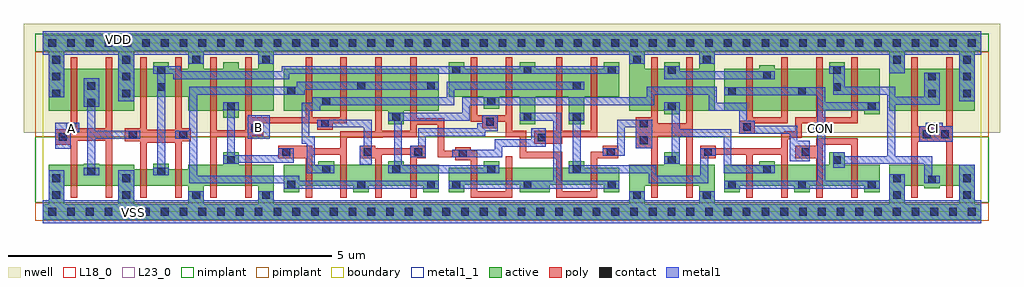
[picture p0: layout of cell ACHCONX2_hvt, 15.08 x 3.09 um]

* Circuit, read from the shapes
.subckt ACHCONX2_hvt A B CI CON VDD VSS
M1 n1 A VSS VSS nfet w=0.325u l=0.1u m=2
M2 n2 n1 VSS VSS nfet w=0.26u l=0.1u m=2
M3 n3 B VSS VSS nfet w=0.325u l=0.1u m=2
M4 n4 n3 n1 VSS nfet w=0.325u l=0.1u m=2
M5 n5 B n1 VSS nfet w=0.325u l=0.1u m=2
M6 n5 n3 n2 VSS nfet w=0.26u l=0.1u m=2
M7 n4 B n2 VSS nfet w=0.26u l=0.1u m=2
M8 n6 B VSS VSS nfet w=0.325u l=0.1u m=2
M9 n6 n4 CON VSS nfet w=0.325u l=0.1u m=2
M10 n7 n5 CON VSS nfet w=0.325u l=0.1u m=2
M11 n7 CI VSS VSS nfet w=0.325u l=0.1u m=2
M12 n1 A VDD VDD pfet w=0.645u l=0.1u m=2
M13 n2 n1 VDD VDD pfet w=0.43u l=0.1u m=2
M14 n3 B VDD VDD pfet w=0.645u l=0.1u m=2
M15 n4 B n1 VDD pfet w=0.645u l=0.1u m=2
M16 n5 n3 n1 VDD pfet w=0.645u l=0.1u m=2
M17 n5 B n2 VDD pfet w=0.43u l=0.1u m=2
M18 n4 n3 n2 VDD pfet w=0.43u l=0.1u m=2
M19 n6 B VDD VDD pfet w=0.645u l=0.1u m=2
M20 n6 n5 CON VDD pfet w=0.645u l=0.1u m=2
M21 n7 n4 CON VDD pfet w=0.645u l=0.1u m=2
M22 n7 CI VDD VDD pfet w=0.645u l=0.1u m=2
.ends

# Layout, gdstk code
import gdstk
lib = gdstk.Library(unit=1e-6, precision=5e-10)
def R(c, l, rs):  # rectangles x0, y0, x1, y1
    for r in rs: c.add(gdstk.rectangle(r[:2], r[2:], *l))
def A(c, l, x, y, w, h, nx, ny, dx, dy):  # array of equal rectangles
    R(c, l, [(x+i*dx, y+j*dy, x+i*dx+w, y+j*dy+h) for i in range(nx) for j in range(ny)])
def P(c, l, *ps):  # polygons
    for p in ps: c.add(gdstk.Polygon(p, *l))
active = (1, 0)
nwell = (2, 0)
poly = (3, 0)
nimplant = (4, 0)
pimplant = (5, 0)
contact = (6, 0)
metal1 = (7, 0)
metal1_1 = (7, 1)
L18_0 = (18, 0)
L23_0 = (23, 0)
boundary = (62, 0)

achconx2_hvt = lib.new_cell('ACHCONX2_hvt')
P(achconx2_hvt, active, [(14.5,0.12),(14.4,0.12),(14.4,0.725),(14.16,0.725),(14.16,0.12),(13.32,0.12),(13.32,0.4),(13.62,0.4),(13.62,0.365),(13.86,0.365),(13.86,0.4),(14.16,0.4),(14.16,0.725),(13.08,0.725),(13.08,0.12),(10.38,0.12),(10.38,0.725),(10.14,0.725),(10.14,0.12),(9.3,0.12),(9.3,0.4),(10.14,0.4),(10.14,0.725),(9.84,0.725),(9.84,0.92),(9.6,0.92),(9.6,0.725),(9.06,0.725),(9.06,0.12),(3.57,0.12),(3.57,0.725),(3.33,0.725),(3.33,0.12),(2.49,0.12),(2.49,0.4),(3.33,0.4),(3.33,0.725),(3.03,0.725),(3.03,0.92),(2.79,0.92),(2.79,0.725),(2.25,0.725),(2.25,0.12),(1.41,0.12),(1.41,0.4),(2.25,0.4),(2.25,0.66),(1.95,0.66),(1.95,0.745),(1.71,0.745),(1.71,0.66),(1.41,0.66),(1.41,0.725),(1.17,0.725),(1.17,0.12),(0.33,0.12),(0.33,0.4),(1.17,0.4),(1.17,0.725),(0.87,0.725),(0.87,0.745),(0.63,0.745),(0.63,0.725),(0.09,0.725),(0.09,0.12),(0,0.12),(0,-0.12),(14.5,-0.12)],
  [(14.5,2.73),(14.16,2.73),(14.16,2.21),(13.32,2.21),(13.32,2.49),(14.16,2.49),(14.16,2.73),(10.14,2.73),(10.14,2.21),(9.84,2.21),(9.84,2.31),(9.6,2.31),(9.6,2.21),(9.3,2.21),(9.3,2.49),(10.14,2.49),(10.14,2.73),(3.33,2.73),(3.33,2.21),(3.03,2.21),(3.03,2.31),(2.79,2.31),(2.79,2.21),(2.49,2.21),(2.49,2.49),(3.33,2.49),(3.33,2.73),(2.25,2.73),(2.25,2.21),(1.95,2.21),(1.95,2.31),(1.71,2.31),(1.71,2.21),(1.41,2.21),(1.41,2.49),(2.25,2.49),(2.25,2.73),(1.17,2.73),(1.17,2.21),(0.33,2.21),(0.33,2.49),(1.17,2.49),(1.17,2.73),(0,2.73),(0,2.49),(0.09,2.49),(0.09,1.565),(1.41,1.565),(1.41,1.78),(2.25,1.78),(2.25,1.565),(2.79,1.565),(2.79,1.45),(3.03,1.45),(3.03,1.565),(3.57,1.565),(3.57,2.49),(9.06,2.49),(9.06,1.565),(9.6,1.565),(9.6,1.51),(9.84,1.51),(9.84,1.565),(10.38,1.565),(10.38,2.49),(13.08,2.49),(13.08,1.565),(14.4,1.565),(14.4,2.49),(14.5,2.49)],
  [(12.93,0.725),(12.39,0.725),(12.39,0.92),(12.15,0.92),(12.15,0.725),(11.31,0.725),(11.31,0.78),(11.07,0.78),(11.07,0.725),(10.53,0.725),(10.53,0.3),(10.77,0.3),(10.77,0.4),(11.61,0.4),(11.61,0.3),(11.85,0.3),(11.85,0.4),(12.69,0.4),(12.69,0.3),(12.93,0.3)],
  [(12.93,2.21),(12.39,2.21),(12.39,2.31),(12.15,2.31),(12.15,2.21),(11.31,2.21),(11.31,2.265),(11.07,2.265),(11.07,2.21),(10.53,2.21),(10.53,1.565),(12.69,1.565),(12.69,1.51),(12.93,1.51)],
  [(8.91,0.68),(8.37,0.68),(8.37,0.78),(8.13,0.78),(8.13,0.68),(7.05,0.68),(7.05,0.78),(6.81,0.78),(6.81,0.68),(6.27,0.68),(6.27,0.3),(6.51,0.3),(6.51,0.42),(7.37,0.42),(7.37,0.3),(7.83,0.3),(7.83,0.42),(8.67,0.42),(8.67,0.3),(8.91,0.3)],
  [(8.91,2.31),(8.67,2.31),(8.67,2.21),(7.61,2.21),(7.61,2.31),(7.37,2.31),(7.37,2.21),(6.51,2.21),(6.51,2.31),(6.27,2.31),(6.27,1.78),(6.81,1.78),(6.81,1.59),(7.05,1.59),(7.05,1.78),(7.37,1.78),(7.37,1.35),(7.61,1.35),(7.61,1.78),(8.13,1.78),(8.13,1.35),(8.37,1.35),(8.37,1.78),(8.91,1.78)],
  [(6.12,0.725),(5.58,0.725),(5.58,0.78),(5.34,0.78),(5.34,0.725),(4.5,0.725),(4.5,0.78),(4.26,0.78),(4.26,0.725),(3.72,0.725),(3.72,0.3),(3.96,0.3),(3.96,0.4),(4.8,0.4),(4.8,0.3),(5.04,0.3),(5.04,0.4),(5.88,0.4),(5.88,0.3),(6.12,0.3)],
  [(6.12,2.21),(3.72,2.21),(3.72,1.565),(5.34,1.565),(5.34,1.35),(5.58,1.35),(5.58,1.565),(6.12,1.565)])
R(achconx2_hvt, nwell, [(-0.29,1.22,14.79,2.91)])
P(achconx2_hvt, poly, [(1.07,2.39),(0.97,2.39),(0.97,1.295),(0.53,1.295),(0.53,2.39),(0.43,2.39),(0.43,1.275),(0.19,1.275),(0.19,1.035),(0.43,1.035),(0.43,0.22),(0.53,0.22),(0.53,1.095),(0.97,1.095),(0.97,0.22),(1.07,0.22)],
  [(2.29,1.29),(2.15,1.29),(2.15,2.39),(2.05,2.39),(2.05,1.27),(1.61,1.27),(1.61,2.39),(1.51,2.39),(1.51,1.29),(1.27,1.29),(1.27,1.09),(1.51,1.09),(1.51,0.22),(1.61,0.22),(1.61,1.07),(2.05,1.07),(2.05,0.22),(2.15,0.22),(2.15,1.09),(2.29,1.09)],
  [(4.7,2.39),(4.6,2.39),(4.6,1.465),(4.16,1.465),(4.16,2.39),(4.06,2.39),(4.06,1.465),(3.23,1.465),(3.23,2.39),(3.13,2.39),(3.13,1.26),(2.69,1.26),(2.69,2.39),(2.59,2.39),(2.59,0.22),(2.69,0.22),(2.69,1.16),(3.13,1.16),(3.13,0.22),(3.23,0.22),(3.23,1.175),(3.405,1.175),(3.405,1.365),(4.24,1.365),(4.24,1.265),(4.48,1.265),(4.48,1.365),(4.7,1.365)],
  [(5.92,1.025),(5.68,1.025),(5.68,0.98),(5.14,0.98),(5.14,1.025),(4.9,1.025),(4.9,0.825),(5.14,0.825),(5.14,0.22),(5.24,0.22),(5.24,0.88),(5.68,0.88),(5.68,0.22),(5.78,0.22),(5.78,0.825),(5.92,0.825)],
  [(7.25,0.86),(7.15,0.86),(7.15,0.32),(6.71,0.32),(6.71,0.945),(6.61,0.945),(6.61,1),(6.37,1),(6.37,0.945),(6.2,0.945),(6.2,1.445),(5.78,1.445),(5.78,2.39),(5.68,2.39),(5.68,1.25),(5.24,1.25),(5.24,2.39),(5.14,2.39),(5.14,1.245),(4.6,1.245),(4.6,0.98),(4.16,0.98),(4.16,1.025),(3.64,1.025),(3.64,0.825),(4.06,0.825),(4.06,0.22),(4.16,0.22),(4.16,0.88),(4.6,0.88),(4.6,0.22),(4.7,0.22),(4.7,1.145),(5.255,1.145),(5.255,1.15),(5.78,1.15),(5.78,1.345),(6.1,1.345),(6.1,0.845),(6.37,0.845),(6.37,0.8),(6.61,0.8),(6.61,0.22),(7.25,0.22)],
  [(8.57,2.39),(8.47,2.39),(8.47,1.25),(8.03,1.25),(8.03,2.39),(7.93,2.39),(7.93,1.25),(7.59,1.25),(7.59,1.05),(8.03,1.05),(8.03,1.15),(8.57,1.15)],
  [(8.895,1.025),(8.655,1.025),(8.655,0.925),(8.47,0.925),(8.47,0.32),(8.03,0.32),(8.03,0.93),(7.47,0.93),(7.47,1.25),(7.25,1.25),(7.25,2.39),(7.15,2.39),(7.15,1.49),(6.71,1.49),(6.71,2.39),(6.61,2.39),(6.61,1.39),(6.79,1.39),(6.79,1.29),(7.03,1.29),(7.03,1.39),(7.15,1.39),(7.15,1.15),(7.37,1.15),(7.37,0.83),(7.93,0.83),(7.93,0.22),(8.57,0.22),(8.57,0.825),(8.895,0.825)],
  [(10.04,2.39),(9.94,2.39),(9.94,1.37),(9.5,1.37),(9.5,2.39),(9.4,2.39),(9.4,1.465),(9.165,1.465),(9.165,0.985),(9.4,0.985),(9.4,0.22),(9.5,0.22),(9.5,1.17),(9.94,1.17),(9.94,0.22),(10.04,0.22)],
  [(11.51,2.39),(11.41,2.39),(11.41,1.465),(10.97,1.465),(10.97,2.39),(10.87,2.39),(10.87,1.41),(10.76,1.41),(10.76,1.21),(11,1.21),(11,1.365),(11.51,1.365)],
  [(12.59,2.39),(12.49,2.39),(12.49,1.465),(12.05,1.465),(12.05,2.39),(11.95,2.39),(11.95,1.465),(11.63,1.465),(11.63,1.245),(11.455,1.245),(11.455,1.22),(11.41,1.22),(11.41,0.98),(10.4,0.98),(10.4,1.025),(10.16,1.025),(10.16,0.825),(10.4,0.825),(10.4,0.88),(10.87,0.88),(10.87,0.22),(10.97,0.22),(10.97,0.88),(11.41,0.88),(11.41,0.22),(11.51,0.22),(11.51,1.12),(11.555,1.12),(11.555,1.145),(11.73,1.145),(11.73,1.365),(12.59,1.365)],
  [(12.59,1.14),(11.95,1.14),(11.95,1.025),(11.63,1.025),(11.63,0.825),(11.95,0.825),(11.95,0.22),(12.05,0.22),(12.05,1.04),(12.49,1.04),(12.49,0.22),(12.59,0.22)],
  [(14.06,2.39),(13.96,2.39),(13.96,1.32),(13.52,1.32),(13.52,2.39),(13.42,2.39),(13.42,0.22),(13.52,0.22),(13.52,1.08),(13.96,1.08),(13.96,0.22),(14.06,0.22)])
R(achconx2_hvt, nimplant, [(-0.12,0.14,14.62,1.16), (-0.12,2.47,14.62,2.75)])
R(achconx2_hvt, pimplant, [(-0.12,-0.14,14.62,0.14), (-0.12,1.16,14.62,2.47)])
A(achconx2_hvt, contact, 0.085, -0.06, 0.12, 0.12, 50, 2, 0.29, 2.61)
A(achconx2_hvt, contact, 0.15, 0.2, 0.12, 0.12, 4, 2, 1.08, 2.09)
A(achconx2_hvt, contact, 3.78, 0.36, 0.12, 0.12, 3, 1, 1.08, 0)
A(achconx2_hvt, contact, 10.59, 0.36, 0.12, 0.12, 3, 1, 1.08, 0)
A(achconx2_hvt, contact, 14.22, 1.77, 0.12, 0.12, 1, 3, 0, 0.26)
R(achconx2_hvt, contact, [(9.12,0.2,9.24,0.32), (10.2,0.2,10.32,0.32), (13.14,0.2,13.26,0.32), (14.22,0.2,14.34,0.32), (6.33,0.36,6.45,0.48), (7.43,0.36,7.55,0.48), (8.73,0.36,8.85,0.48), (13.68,0.44,13.8,0.56), (0.15,0.46,0.27,0.58), (1.23,0.46,1.35,0.58), (13.14,0.46,13.26,0.58), (14.22,0.46,14.34,0.58), (0.69,0.565,0.81,0.685), (1.77,0.565,1.89,0.685), (4.32,0.6,4.44,0.72), (5.4,0.6,5.52,0.72), (6.87,0.6,6.99,0.72), (8.19,0.6,8.31,0.72), (11.13,0.6,11.25,0.72), (2.85,0.74,2.97,0.86), (9.66,0.74,9.78,0.86), (12.21,0.74,12.33,0.86), (6.43,0.84,6.55,0.96), (3.7,0.865,3.82,0.985), (4.96,0.865,5.08,0.985), (5.74,0.865,5.86,0.985), (8.715,0.865,8.835,0.985), (10.22,0.865,10.34,0.985), (11.73,0.865,11.85,0.985), (9.225,1.045,9.345,1.165), (7.65,1.09,7.77,1.21), (0.25,1.095,0.37,1.215), (1.33,1.13,1.45,1.25), (2.11,1.13,2.23,1.25), (13.6,1.14,13.72,1.26), (13.88,1.14,14,1.26), (3.225,1.235,3.345,1.355), (10.82,1.25,10.94,1.37), (4.3,1.305,4.42,1.425), (9.225,1.305,9.345,1.425), (6.85,1.33,6.97,1.45), (5.4,1.41,5.52,1.53), (7.43,1.41,7.55,1.53), (8.19,1.41,8.31,1.53), (2.85,1.57,2.97,1.69), (9.66,1.57,9.78,1.69), (12.75,1.57,12.87,1.69), (0.69,1.625,0.81,1.745), (4.32,1.65,4.44,1.77), (6.87,1.65,6.99,1.77), (0.15,1.77,0.27,1.89), (1.23,1.77,1.35,1.89), (13.68,1.77,13.8,1.89), (10.59,1.805,10.71,1.925), (11.67,1.805,11.79,1.925), (3.78,1.81,3.9,1.93), (1.77,1.87,1.89,1.99), (12.21,1.87,12.33,1.99), (0.69,1.885,0.81,2.005), (4.86,1.89,4.98,2.01), (5.94,1.89,6.06,2.01), (8.19,1.89,8.31,2.01), (0.15,2.03,0.27,2.15), (1.23,2.03,1.35,2.15), (13.68,2.03,13.8,2.15), (11.13,2.05,11.25,2.17), (1.77,2.13,1.89,2.25), (6.33,2.13,6.45,2.25), (7.43,2.13,7.55,2.25), (8.73,2.13,8.85,2.25), (9.66,2.13,9.78,2.25), (12.21,2.13,12.33,2.25), (9.12,2.29,9.24,2.41), (10.2,2.29,10.32,2.41), (13.14,2.29,13.26,2.41)])
R(achconx2_hvt, metal1, [(0.19,0.975,0.43,1.365), (13.54,1.08,14.06,1.32), (3.165,1.13,3.51,1.49), (0.19,1.23,0.565,1.38), (11.905,1.23,12.165,1.38), (13.645,1.23,13.905,1.38)])
P(achconx2_hvt, metal1, [(3.88,0.985),(3.64,0.985),(3.64,0.875),(2.97,0.875),(2.97,1.57),(3.03,1.57),(3.03,1.69),(2.79,1.69),(2.79,1.57),(2.85,1.57),(2.85,0.875),(2.79,0.875),(2.79,0.74),(3.03,0.74),(3.03,0.755),(3.88,0.755)],
  [(1.51,1.25),(0.81,1.25),(0.81,1.625),(0.87,1.625),(0.87,2.065),(0.63,2.065),(0.63,1.625),(0.69,1.625),(0.69,0.685),(0.63,0.685),(0.63,0.565),(0.87,0.565),(0.87,0.685),(0.81,0.685),(0.81,1.13),(1.51,1.13)],
  [(5.08,1.425),(4.24,1.425),(4.24,1.305),(4.96,1.305),(4.96,1.025),(4.9,1.025),(4.9,0.73),(5.08,0.73)],
  [(6.12,0.48),(3.96,0.48),(3.96,0.56),(2.385,0.56),(2.385,1.81),(4.045,1.81),(4.045,1.89),(6.12,1.89),(6.12,2.01),(3.925,2.01),(3.925,1.93),(2.265,1.93),(2.265,1.25),(2.05,1.25),(2.05,1.13),(2.265,1.13),(2.265,0.44),(3.72,0.44),(3.72,0.36),(6.12,0.36)],
  [(7.03,1.49),(6.79,1.49),(6.79,1.365),(6.715,1.365),(6.715,1.29),(5.8,1.29),(5.8,1.025),(5.68,1.025),(5.68,0.84),(5.92,0.84),(5.92,1.17),(6.835,1.17),(6.835,1.245),(7.03,1.245)],
  [(7.77,1.29),(7.55,1.29),(7.55,1.125),(6.98,1.125),(6.98,0.96),(6.325,0.96),(6.325,0.84),(7.1,0.84),(7.1,1.005),(7.77,1.005)],
  [(8.37,2.01),(6.24,2.01),(6.24,1.77),(4.165,1.77),(4.165,1.685),(4,1.685),(4,1.05),(4.08,1.05),(4.08,0.6),(4.5,0.6),(4.5,0.72),(4.2,0.72),(4.2,1.17),(4.12,1.17),(4.12,1.565),(4.285,1.565),(4.285,1.65),(6.36,1.65),(6.36,1.89),(8.37,1.89)],
  [(8.91,2.25),(3.69,2.25),(3.69,2.17),(2.135,2.17),(2.135,2.25),(1.71,2.25),(1.71,2.13),(1.77,2.13),(1.77,0.685),(1.71,0.685),(1.71,0.565),(1.95,0.565),(1.95,0.685),(1.89,0.685),(1.89,2.13),(2.015,2.13),(2.015,2.05),(3.81,2.05),(3.81,2.13),(8.91,2.13)],
  [(8.91,0.48),(8.01,0.48),(8.01,1.53),(7.37,1.53),(7.37,1.41),(7.89,1.41),(7.89,0.48),(6.27,0.48),(6.27,0.36),(8.91,0.36)],
  [(9.415,1.425),(8.875,1.425),(8.875,0.985),(8.655,0.985),(8.655,0.865),(8.995,0.865),(8.995,1.305),(9.165,1.305),(9.165,0.985),(9.415,0.985)],
  [(10.4,0.985),(10.16,0.985),(10.16,0.56),(9.48,0.56),(9.48,0.72),(8.31,0.72),(8.31,1.41),(8.37,1.41),(8.37,1.53),(8.13,1.53),(8.13,1.41),(8.19,1.41),(8.19,0.72),(8.13,0.72),(8.13,0.6),(9.36,0.6),(9.36,0.44),(10.28,0.44),(10.28,0.865),(10.4,0.865)],
  [(11.31,2.17),(9.84,2.17),(9.84,2.25),(9.6,2.25),(9.6,2.05),(11.31,2.05)],
  [(11.31,0.72),(10.64,0.72),(10.64,1.28),(9.84,1.28),(9.84,1.69),(9.6,1.69),(9.6,1.57),(9.72,1.57),(9.72,0.86),(9.6,0.86),(9.6,0.74),(9.84,0.74),(9.84,1.16),(10.52,1.16),(10.52,0.6),(11.31,0.6)],
  [(11.85,1.095),(11.66,1.095),(11.66,1.33),(11,1.33),(11,1.41),(10.88,1.41),(10.88,1.685),(10.41,1.685),(10.41,1.93),(9.33,1.93),(9.33,1.77),(6.48,1.77),(6.48,1.53),(5.34,1.53),(5.34,1.41),(5.43,1.41),(5.43,0.72),(5.34,0.72),(5.34,0.6),(7.05,0.6),(7.05,0.72),(5.55,0.72),(5.55,1.41),(6.6,1.41),(6.6,1.65),(9.45,1.65),(9.45,1.81),(10.29,1.81),(10.29,1.565),(10.76,1.565),(10.76,1.21),(11.54,1.21),(11.54,0.785),(11.85,0.785)],
  [(12.93,0.48),(12.09,0.48),(12.09,1.57),(12.93,1.57),(12.93,1.69),(12.09,1.69),(12.09,1.925),(10.53,1.925),(10.53,1.805),(11.97,1.805),(11.97,0.48),(10.53,0.48),(10.53,0.36),(12.93,0.36)],
  [(13.86,0.56),(13.74,0.56),(13.74,0.86),(13.17,0.86),(13.17,1.655),(13.86,1.655),(13.86,2.15),(13.62,2.15),(13.62,1.775),(13.17,1.775),(13.17,1.93),(12.39,1.93),(12.39,2.25),(12.15,2.25),(12.15,2.13),(12.21,2.13),(12.21,1.81),(13.05,1.81),(13.05,0.86),(12.39,0.86),(12.39,0.92),(12.21,0.92),(12.21,0.68),(12.39,0.68),(12.39,0.74),(13.62,0.74),(13.62,0.44),(13.86,0.44)],
  [(14.5,2.79),(0,2.79),(0,2.43),(0.09,2.43),(0.09,1.77),(0.33,1.77),(0.33,2.43),(1.17,2.43),(1.17,1.71),(1.41,1.71),(1.41,2.43),(2.25,2.43),(2.25,2.29),(2.49,2.29),(2.49,2.43),(3.33,2.43),(3.33,2.29),(3.57,2.29),(3.57,2.43),(9.06,2.43),(9.06,2.29),(9.3,2.29),(9.3,2.43),(10.14,2.43),(10.14,2.29),(10.38,2.29),(10.38,2.43),(13.08,2.43),(13.08,2.14),(13.32,2.14),(13.32,2.43),(14.16,2.43),(14.16,1.71),(14.4,1.71),(14.4,2.43),(14.5,2.43)],
  [(14.5,0.18),(14.4,0.18),(14.4,0.725),(14.16,0.725),(14.16,0.18),(13.32,0.18),(13.32,0.58),(13.08,0.58),(13.08,0.18),(10.38,0.18),(10.38,0.32),(10.14,0.32),(10.14,0.18),(9.3,0.18),(9.3,0.32),(9.06,0.32),(9.06,0.18),(3.57,0.18),(3.57,0.32),(3.33,0.32),(3.33,0.18),(2.49,0.18),(2.49,0.32),(2.25,0.32),(2.25,0.18),(1.41,0.18),(1.41,0.64),(1.17,0.64),(1.17,0.18),(0.33,0.18),(0.33,0.64),(0.09,0.64),(0.09,0.18),(0,0.18),(0,-0.18),(14.5,-0.18)])
R(achconx2_hvt, metal1_1, [(1.345,-0.07,1.465,0.05), (0.36,1.23,0.51,1.38), (3.26,1.23,3.41,1.38), (11.96,1.23,12.11,1.38), (13.7,1.23,13.85,1.38), (1.105,2.6,1.225,2.72)])
P(achconx2_hvt, L18_0, [(13.08,0.14),(13.32,0.14),(13.32,0.4),(13.62,0.4),(13.62,0.365),(13.86,0.365),(13.86,0.4),(14.16,0.4),(14.16,0.14),(14.4,0.14),(14.4,0.725),(13.08,0.725)],
  [(10.53,0.3),(10.77,0.3),(10.77,0.4),(11.61,0.4),(11.61,0.3),(11.85,0.3),(11.85,0.4),(12.69,0.4),(12.69,0.3),(12.93,0.3),(12.93,0.725),(12.39,0.725),(12.39,0.92),(12.15,0.92),(12.15,0.725),(11.31,0.725),(11.31,0.78),(11.07,0.78),(11.07,0.725),(10.53,0.725)],
  [(9.06,0.14),(9.3,0.14),(9.3,0.4),(10.14,0.4),(10.14,0.14),(10.38,0.14),(10.38,0.725),(9.84,0.725),(9.84,0.92),(9.6,0.92),(9.6,0.725),(9.06,0.725)],
  [(6.27,0.3),(6.51,0.3),(6.51,0.42),(7.37,0.42),(7.37,0.3),(7.83,0.3),(7.83,0.42),(8.67,0.42),(8.67,0.3),(8.91,0.3),(8.91,0.68),(8.37,0.68),(8.37,0.78),(8.13,0.78),(8.13,0.68),(7.05,0.68),(7.05,0.78),(6.81,0.78),(6.81,0.68),(6.27,0.68)],
  [(3.72,0.3),(3.96,0.3),(3.96,0.4),(4.8,0.4),(4.8,0.3),(5.04,0.3),(5.04,0.4),(5.88,0.4),(5.88,0.3),(6.12,0.3),(6.12,0.725),(5.58,0.725),(5.58,0.78),(5.34,0.78),(5.34,0.725),(4.5,0.725),(4.5,0.78),(4.26,0.78),(4.26,0.725),(3.72,0.725)],
  [(0.09,0.14),(0.33,0.14),(0.33,0.4),(1.17,0.4),(1.17,0.14),(1.41,0.14),(1.41,0.4),(2.25,0.4),(2.25,0.14),(2.49,0.14),(2.49,0.4),(3.33,0.4),(3.33,0.14),(3.57,0.14),(3.57,0.725),(3.03,0.725),(3.03,0.92),(2.79,0.92),(2.79,0.725),(2.25,0.725),(2.25,0.66),(1.95,0.66),(1.95,0.745),(1.71,0.745),(1.71,0.66),(1.41,0.66),(1.41,0.725),(0.87,0.725),(0.87,0.745),(0.63,0.745),(0.63,0.725),(0.09,0.725)])
P(achconx2_hvt, L23_0, [(13.08,1.565),(14.4,1.565),(14.4,2.47),(14.16,2.47),(14.16,2.21),(13.32,2.21),(13.32,2.47),(13.08,2.47)],
  [(10.53,1.565),(12.69,1.565),(12.69,1.51),(12.93,1.51),(12.93,2.21),(12.39,2.21),(12.39,2.31),(12.15,2.31),(12.15,2.21),(11.31,2.21),(11.31,2.265),(11.07,2.265),(11.07,2.21),(10.53,2.21)],
  [(9.06,1.565),(9.6,1.565),(9.6,1.51),(9.84,1.51),(9.84,1.565),(10.38,1.565),(10.38,2.47),(10.14,2.47),(10.14,2.21),(9.84,2.21),(9.84,2.31),(9.6,2.31),(9.6,2.21),(9.3,2.21),(9.3,2.47),(9.06,2.47)],
  [(6.27,1.78),(6.81,1.78),(6.81,1.59),(7.05,1.59),(7.05,1.78),(7.37,1.78),(7.37,1.35),(7.61,1.35),(7.61,1.78),(8.13,1.78),(8.13,1.35),(8.37,1.35),(8.37,1.78),(8.91,1.78),(8.91,2.31),(8.67,2.31),(8.67,2.21),(7.61,2.21),(7.61,2.31),(7.37,2.31),(7.37,2.21),(6.51,2.21),(6.51,2.31),(6.27,2.31)],
  [(3.72,1.565),(5.34,1.565),(5.34,1.35),(5.58,1.35),(5.58,1.565),(6.12,1.565),(6.12,2.21),(3.72,2.21)],
  [(0.09,1.565),(1.41,1.565),(1.41,1.78),(2.25,1.78),(2.25,1.565),(2.79,1.565),(2.79,1.45),(3.03,1.45),(3.03,1.565),(3.57,1.565),(3.57,2.47),(3.33,2.47),(3.33,2.21),(3.03,2.21),(3.03,2.31),(2.79,2.31),(2.79,2.21),(2.49,2.21),(2.49,2.47),(2.25,2.47),(2.25,2.21),(1.95,2.21),(1.95,2.31),(1.71,2.31),(1.71,2.21),(1.41,2.21),(1.41,2.47),(1.17,2.47),(1.17,2.21),(0.33,2.21),(0.33,2.47),(0.09,2.47)])
R(achconx2_hvt, boundary, [(0,0,14.5,2.61)])
achconx2_hvt.add(gdstk.Label('CON', (12.02,1.29), layer=7, texttype=3))
achconx2_hvt.add(gdstk.Label('A', (0.45,1.29), layer=7, texttype=3))
achconx2_hvt.add(gdstk.Label('B', (3.335,1.305), layer=7, texttype=3))
achconx2_hvt.add(gdstk.Label('CI', (13.76,1.29), layer=7, texttype=3))
achconx2_hvt.add(gdstk.Label('VSS', (1.405,-0.01), layer=7, texttype=3))
achconx2_hvt.add(gdstk.Label('VDD', (1.165,2.66), layer=7, texttype=3))

lib.write_gds('ACHCONX2_hvt.gds')
